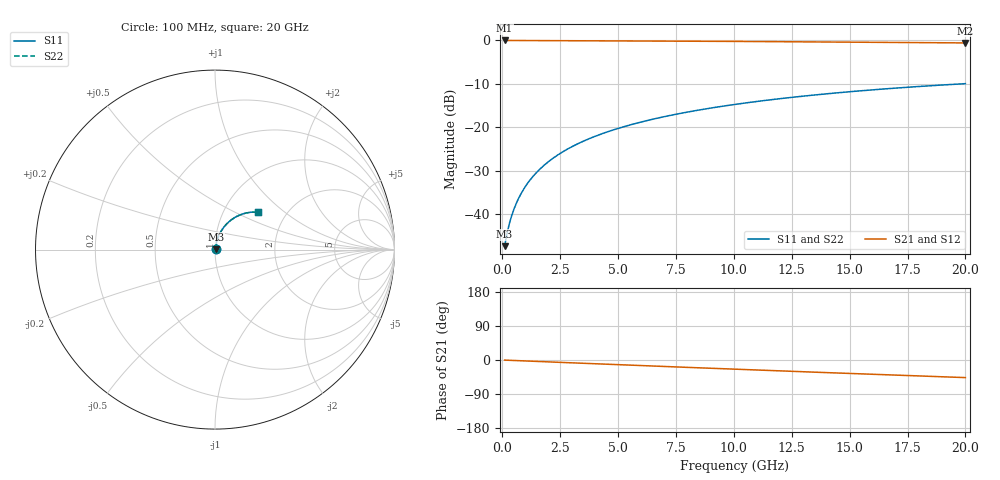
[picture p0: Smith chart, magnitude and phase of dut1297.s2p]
! Touchstone file exported from HFSS 2026.1.0
!  File:  C:/ffzhzh/LocalFiles/Ansys_Project_Files/temp_train_BSMRDL_1297_1783178126_18472.aedt
!  Generated:  11:16:43 PM Jul  4, 2026
!  Design:  BSMRDL
!  Project:  temp_train_BSMRDL_1297_1783178126_18472
! Variables:
!  h_bsmrdl = 4.2um
!  h_ox = 20um
!  h_rdl = 5um
!  h_sub = 80um
!  h_tmrdl = 5um
!  h_tsv = 80um
!  h_via = 3um
!  l_bsmrdl = 759.69um
!  l_sub = 1159.69um
!  l_tmrdl = 200um
!  m_sub = 200um
!  pitch = 33.92um
!  r_tsv = 6um
!  s_tmrdl = 10um
!  w_bsmrdl = 18.77um
!  w_sub = 500um
!  w_tmrdl = 12um
!  x_tsv_center1 = 206um
!  x_tsv_center2 = 984.46um
!  x_tsv_center3 = 1196.46um
!  x_tsv_center4 = 1974.92um
!  x_tsv_center5 = 2186.92um
!  x_tsv_center6 = 2965.38um
# GHz S MA R 50.000000
! Terminal data exported
! Port[1] = BSM_RDL1_1_T1
! Port[2] = BSM_RDL1_1_T2
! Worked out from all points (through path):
!   200 points, 100 MHz to 20 GHz, reference 50 ohm
!   highest |S21| = -0.03 dB at 100 MHz (marker M1); lowest = -0.6 dB at 20 GHz (marker M2)
!   group delay of S21, straight-line fit = 6.44 ps
!   lowest |S11| = -47.4 dB at 100 MHz (marker M3), VSWR 1.01, Z = 50.4 + j0.231 ohm
!   |S11| at or under -10 dB: start of sweep to 19.94 GHz
!   |S22| runs from -47.4 to -10.0 dB; largest |S21 - S12| = 2.4e-15
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0.1  0.004258 32.6  0.9964 -0.3  0.9964 -0.3  0.004258 32.6
! Gamma 0 0 0 0
! Port Impedance 50 0 50 0
0.2  0.005871 49.2  0.9962 -0.5  0.9962 -0.5  0.005871 49.2
0.3  0.007657 57.7  0.996 -0.8  0.996 -0.8  0.007657 57.7
0.4  0.009474 62.9  0.9958 -1.0  0.9958 -1.0  0.009474 62.9
0.5  0.01131 66.4  0.9957 -1.3  0.9957 -1.3  0.01131 66.4
0.6  0.01317 69.0  0.9955 -1.5  0.9955 -1.5  0.01317 69.0
0.8  0.01694 72.5  0.9954 -2.0  0.9954 -2.0  0.01694 72.5
1.1  0.0227 75.3  0.9951 -2.8  0.9951 -2.8  0.0227 75.3
1.3  0.02657 76.3  0.9949 -3.3  0.9949 -3.3  0.02657 76.3
1.6  0.03239 77.2  0.9945 -4.0  0.9945 -4.0  0.0324 77.2
2.1  0.0421 77.5  0.9938 -5.2  0.9938 -5.2  0.0421 77.5
2.7  0.05367 77.1  0.9928 -6.7  0.9928 -6.7  0.05367 77.1
3.5  0.0689 75.9  0.9912 -8.7  0.9912 -8.7  0.0689 75.9
4.2  0.08199 74.7  0.9896 -10.4  0.9896 -10.4  0.082 74.6
5  0.09669 73.0  0.9875 -12.3  0.9875 -12.3  0.09669 73.0
5.9  0.1129 71.1  0.985 -14.5  0.985 -14.5  0.1129 71.1
6.8  0.1287 69.2  0.9823 -16.6  0.9823 -16.6  0.1287 69.2
8.3  0.1542 65.9  0.9775 -20.2  0.9775 -20.2  0.1542 65.9
10.1  0.1836 62.0  0.9713 -24.4  0.9713 -24.4  0.1836 62.0
13.4  0.2335 54.9  0.9591 -31.9  0.9591 -31.9  0.2335 54.9
16.7  0.2781 47.9  0.9463 -39.3  0.9463 -39.3  0.2781 47.8
20  0.3169 41.0  0.9335 -46.4  0.9335 -46.4  0.3169 40.9
